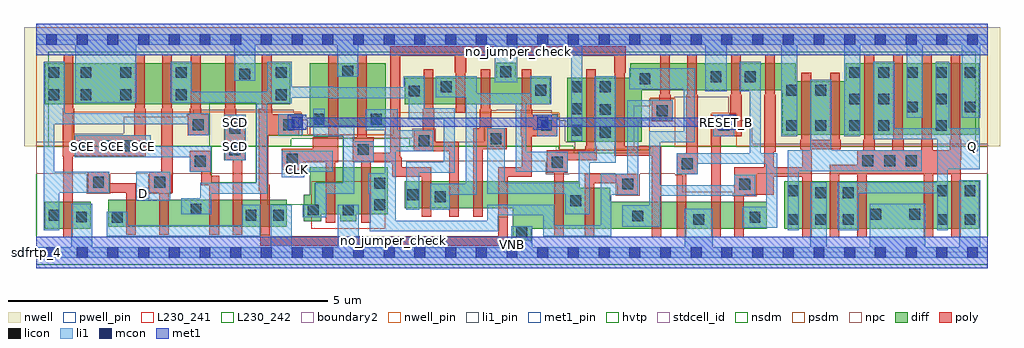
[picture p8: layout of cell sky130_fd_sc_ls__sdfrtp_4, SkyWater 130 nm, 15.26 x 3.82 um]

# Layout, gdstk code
import gdstk
lib = gdstk.Library(unit=1e-6, precision=1e-09)
def R(c, l, rs):  # rectangles x0, y0, x1, y1
    for r in rs: c.add(gdstk.rectangle(r[:2], r[2:], *l))
def A(c, l, x, y, w, h, nx, ny, dx, dy):  # array of equal rectangles
    R(c, l, [(x+i*dx, y+j*dy, x+i*dx+w, y+j*dy+h) for i in range(nx) for j in range(ny)])
def P(c, l, *ps):  # polygons
    for p in ps: c.add(gdstk.Polygon(p, *l))
nwell_pin = (64, 16)
nwell = (64, 20)
diff = (65, 20)
poly = (66, 20)
licon = (66, 44)
li1_pin = (67, 16)
li1 = (67, 20)
mcon = (67, 44)
met1_pin = (68, 16)
met1 = (68, 20)
hvtp = (78, 44)
stdcell_id = (81, 4)
nsdm = (93, 44)
psdm = (94, 20)
npc = (95, 20)
pwell_pin = (122, 16)
L230_241 = (230, 241)
L230_242 = (230, 242)
boundary2 = (236, 0)

sky130_fd_sc_ls__sdfrtp_ = lib.new_cell('sky130_fd_sc_ls__sdfrtp_4')
R(sky130_fd_sc_ls__sdfrtp_, nwell_pin, [(0,3.085,14.88,3.33)])
P(sky130_fd_sc_ls__sdfrtp_, nwell, [(15.07,3.52),(-0.19,3.52),(-0.19,1.66),(3.985,1.66),(3.985,1.78),(5.835,1.78),(5.835,1.66),(8.125,1.66),(8.125,1.555),(9.645,1.555),(9.645,1.66),(15.07,1.66)])
R(sky130_fd_sc_ls__sdfrtp_, diff, [(0.135,0.37,0.855,0.79), (11.695,0.37,14.745,1.11), (1.125,0.405,3.915,0.825), (4.275,1.96,5.465,2.96), (0.135,2.32,3.975,2.96)])
P(sky130_fd_sc_ls__sdfrtp_, diff, [(8.035,2.735),(7.5,2.735),(7.5,2.97),(7.19,2.97),(7.19,2.735),(5.765,2.735),(5.765,2.315),(8.035,2.315)],
  [(5.495,1.335),(4.28,1.335),(4.28,0.9),(4.185,0.9),(4.185,0.49),(4.455,0.49),(4.455,0.595),(4.755,0.595),(4.755,0.49),(5.005,0.49),(5.005,0.595),(5.495,0.595)],
  [(14.745,2.96),(12.655,2.96),(12.655,2.68),(11.875,2.68),(11.875,2.96),(9.29,2.96),(9.29,2.735),(8.305,2.735),(8.305,1.735),(9.465,1.735),(9.465,2.54),(11.665,2.54),(11.665,1.84),(14.745,1.84)],
  [(11.425,0.79),(8.975,0.79),(8.975,1.01),(8.5,1.01),(8.5,1.11),(5.765,1.11),(5.765,0.69),(7.45,0.69),(7.45,0.18),(7.74,0.18),(7.74,0.37),(11.425,0.37)])
P(sky130_fd_sc_ls__sdfrtp_, poly, [(2.86,1.2),(2.73,1.2),(2.73,1.59),(2.4,1.59),(2.4,1.26),(2.58,1.26),(2.58,1.05),(2.71,1.05),(2.71,0.275),(2.86,0.275)],
  [(1.56,1.085),(1.14,1.085),(1.14,1.265),(0.81,1.265),(0.81,0.935),(1.41,0.935),(1.41,0.275),(1.56,0.275)],
  [(1.715,2.245),(1.7,2.245),(1.7,3.09),(1.55,3.09),(1.55,2.245),(1.535,2.245),(1.535,1.835),(0.595,1.835),(0.595,2.245),(0.58,2.245),(0.58,3.09),(0.43,3.09),(0.43,2.245),(0.415,2.245),(0.415,1.505),(0.42,1.505),(0.42,0.24),(0.57,0.24),(0.57,1.505),(1.715,1.505)],
  [(2.135,2.245),(2.12,2.245),(2.12,3.09),(1.97,3.09),(1.97,2.245),(1.955,2.245),(1.955,1.265),(1.77,1.265),(1.77,0.935),(1.925,0.935),(1.925,0.275),(2.075,0.275),(2.075,0.935),(2.135,0.935)],
  [(9.955,2.38),(9.925,2.38),(9.925,2.465),(9.91,2.465),(9.91,3.09),(9.76,3.09),(9.76,2.465),(9.745,2.465),(9.745,2.38),(9.625,2.38),(9.625,2.05),(9.955,2.05)],
  [(14.465,1.765),(14.45,1.765),(14.45,3.09),(14.3,3.09),(14.3,1.765),(14.285,1.765),(14.285,1.6),(14.015,1.6),(14.015,1.765),(14,1.765),(14,3.09),(13.85,3.09),(13.85,1.765),(13.835,1.765),(13.835,1.6),(13.565,1.6),(13.565,1.765),(13.55,1.765),(13.55,3.09),(13.4,3.09),(13.4,1.765),(13.385,1.765),(13.385,1.6),(13.115,1.6),(13.115,1.765),(13.1,1.765),(13.1,3.09),(12.95,3.09),(12.95,1.765),(12.935,1.765),(12.935,1.6),(12.84,1.6),(12.84,1.375),(12.41,1.375),(12.41,0.24),(12.56,0.24),(12.56,1.225),(12.84,1.225),(12.84,0.24),(12.99,0.24),(12.99,1.225),(13.88,1.225),(13.88,0.24),(14.03,0.24),(14.03,1.225),(14.31,1.225),(14.31,0.24),(14.46,0.24),(14.46,1.45),(14.465,1.45)],
  [(4.72,3.09),(4.57,3.09),(4.57,1.8),(4.325,1.8),(4.325,1.62),(3.84,1.62),(3.84,1.29),(4.17,1.29),(4.17,1.41),(4.53,1.41),(4.53,0.465),(4.68,0.465),(4.68,1.41),(4.72,1.41)],
  [(2.7,2.16),(2.585,2.16),(2.585,2.245),(2.57,2.245),(2.57,3.09),(2.42,3.09),(2.42,2.245),(2.405,2.245),(2.405,2.16),(2.37,2.16),(2.37,1.83),(2.7,1.83)],
  [(8.145,2.15),(7.755,2.15),(7.755,2.24),(7.74,2.24),(7.74,2.865),(7.59,2.865),(7.59,2.24),(7.575,2.24),(7.575,1.82),(7.595,1.82),(7.595,1.335),(7.225,1.335),(7.225,0.56),(7.375,0.56),(7.375,1.185),(7.745,1.185),(7.745,1.82),(8.145,1.82)],
  [(7.375,0.56),(7.225,0.56),(7.225,0.255),(3.65,0.255),(3.65,0.275),(3.5,0.275),(3.5,0.105),(7.375,0.105)],
  [(6.61,1.735),(6.23,1.735),(6.23,1.915),(6.225,1.915),(6.225,2.24),(6.21,2.24),(6.21,2.865),(6.06,2.865),(6.06,2.24),(6.045,2.24),(6.045,1.915),(5.9,1.915),(5.9,1.585),(6.46,1.585),(6.46,0.56),(6.61,0.56)],
  [(4.115,2.16),(3.695,2.16),(3.695,2.245),(3.68,2.245),(3.68,3.09),(3.53,3.09),(3.53,2.245),(3.48,2.245),(3.48,0.965),(3.5,0.965),(3.5,0.275),(3.65,0.275),(3.65,1.06),(3.63,1.06),(3.63,1.83),(4.115,1.83)],
  [(3.27,2.11),(3.125,2.11),(3.125,2.245),(3.11,2.245),(3.11,3.09),(2.96,3.09),(2.96,2.245),(2.94,2.245),(2.94,1.44),(3.07,1.44),(3.07,0.275),(3.22,0.275),(3.22,1.44),(3.27,1.44)],
  [(7.355,1.945),(7.115,1.945),(7.115,2.24),(7.1,2.24),(7.1,2.865),(6.95,2.865),(6.95,2.24),(6.935,2.24),(6.935,1.945),(6.835,1.945),(6.835,0.56),(6.985,0.56),(6.985,1.615),(7.355,1.615)],
  [(12.58,1.765),(12.565,1.765),(12.565,2.81),(12.415,2.81),(12.415,1.765),(12.115,1.765),(12.115,2.81),(11.965,2.81),(11.965,1.765),(11.95,1.765),(11.95,1.615),(11.98,1.615),(11.98,1.335),(11.535,1.335),(11.535,1.575),(11.565,1.575),(11.565,2.465),(11.55,2.465),(11.55,3.09),(11.4,3.09),(11.4,2.465),(11.385,2.465),(11.385,1.335),(10.915,1.335),(10.915,0.24),(11.065,0.24),(11.065,0.9),(11.535,0.9),(11.535,1.185),(11.98,1.185),(11.98,0.24),(12.13,0.24),(12.13,1.615),(12.58,1.615)],
  [(10.345,2.465),(10.33,2.465),(10.33,3.09),(10.18,3.09),(10.18,2.465),(10.165,2.465),(10.165,1.555),(10.015,1.555),(10.015,0.24),(10.165,0.24),(10.165,1.225),(10.345,1.225)],
  [(9.775,1.66),(9.2,1.66),(9.2,2.81),(9.215,2.81),(9.215,3.225),(5.54,3.225),(5.54,1.56),(5.28,1.56),(5.28,1.8),(5.17,1.8),(5.17,3.09),(5.02,3.09),(5.02,1.8),(4.95,1.8),(4.95,1.41),(5.08,1.41),(5.08,0.465),(5.23,0.465),(5.23,1.41),(5.55,1.41),(5.55,1.39),(5.57,1.39),(5.57,1.185),(6.03,1.185),(6.03,0.56),(6.18,0.56),(6.18,1.335),(5.72,1.335),(5.72,1.475),(5.705,1.475),(5.705,1.5),(5.69,1.5),(5.69,3.075),(6.545,3.075),(6.545,2.81),(6.56,2.81),(6.56,2.185),(6.71,2.185),(6.71,2.81),(6.725,2.81),(6.725,3.075),(9.035,3.075),(9.035,2.81),(9.05,2.81),(9.05,1.66),(9.035,1.66),(9.035,1.51),(9.625,1.51),(9.625,0.24),(9.775,0.24)],
  [(9.415,1.235),(8.575,1.235),(8.575,0.24),(8.725,0.24),(8.725,1.085),(9.085,1.085),(9.085,0.905),(9.415,0.905)],
  [(8.765,1.66),(8.75,1.66),(8.75,2.865),(8.6,2.865),(8.6,1.66),(8.585,1.66),(8.585,1.595),(7.985,1.595),(7.985,1.245),(8.1,1.245),(8.1,0.24),(8.25,0.24),(8.25,1.245),(8.315,1.245),(8.315,1.445),(8.765,1.445)],
  [(11.03,2.465),(11.015,2.465),(11.015,3.09),(10.865,3.09),(10.865,2.465),(10.85,2.465),(10.85,2.15),(10.555,2.15),(10.555,0.24),(10.705,0.24),(10.705,1.82),(11.03,1.82)])
A(sky130_fd_sc_ls__sdfrtp_, licon, 11.755, 0.43, 0.17, 0.17, 3, 1, 0.43, 0)
A(sky130_fd_sc_ls__sdfrtp_, licon, 12.92, 1.35, 0.17, 0.17, 3, 1, 0.34, 0)
A(sky130_fd_sc_ls__sdfrtp_, licon, 0.685, 1.585, 0.17, 0.17, 3, 1, 0.34, 0)
A(sky130_fd_sc_ls__sdfrtp_, licon, 8.815, 1.795, 0.17, 0.17, 1, 3, 0, 0.355)
A(sky130_fd_sc_ls__sdfrtp_, licon, 8.365, 1.825, 0.17, 0.17, 1, 3, 0, 0.34)
A(sky130_fd_sc_ls__sdfrtp_, licon, 12.715, 2.73, 0.17, 0.17, 5, 1, 0.45, 0)
R(sky130_fd_sc_ls__sdfrtp_, licon, [(7.51,0.24,7.68,0.41), (10.275,0.43,10.445,0.6), (14.085,0.43,14.255,0.6), (14.515,0.43,14.685,0.6), (1.185,0.465,1.355,0.635), (11.155,0.465,11.325,0.635), (0.625,0.47,0.795,0.64), (9.32,0.485,9.49,0.655), (0.195,0.495,0.365,0.665), (3.275,0.5,3.445,0.67), (3.705,0.5,3.875,0.67), (13.045,0.51,13.215,0.68), (13.655,0.51,13.825,0.68), (4.245,0.58,4.415,0.75), (4.795,0.58,4.965,0.75), (2.415,0.595,2.585,0.765), (5.285,0.66,5.455,0.83), (8.35,0.725,8.52,0.895), (6.235,0.785,6.405,0.955), (5.805,0.815,5.975,0.985), (12.185,0.85,12.355,1.02), (12.615,0.85,12.785,1.02), (11.755,0.88,11.925,1.05), (14.085,0.88,14.255,1.05), (14.515,0.88,14.685,1.05), (10.995,0.98,11.165,1.15), (9.165,0.985,9.335,1.155), (5.285,1,5.455,1.17), (0.89,1.015,1.06,1.185), (1.85,1.015,2.02,1.185), (10.095,1.305,10.265,1.475), (8.065,1.325,8.235,1.495), (2.48,1.34,2.65,1.51), (3.92,1.37,4.09,1.54), (3.02,1.52,3.19,1.69), (5.03,1.525,5.2,1.695), (5.98,1.665,6.15,1.835), (7.105,1.695,7.275,1.865), (3.02,1.86,3.19,2.03), (7.895,1.9,8.065,2.07), (10.665,1.9,10.835,2.07), (11.73,1.9,11.9,2.07), (12.18,1.9,12.35,2.07), (12.715,1.9,12.885,2.07), (13.165,1.9,13.335,2.07), (14.065,1.9,14.235,2.07), (2.45,1.91,2.62,2.08), (3.865,1.91,4.035,2.08), (4.335,2,4.505,2.17), (5.235,2,5.405,2.17), (9.705,2.13,9.875,2.3), (13.615,2.19,13.785,2.36), (14.515,2.19,14.685,2.36), (12.715,2.315,12.885,2.485), (13.165,2.315,13.335,2.485), (14.065,2.315,14.235,2.485), (0.195,2.38,0.365,2.55), (0.695,2.38,0.865,2.55), (1.315,2.38,1.485,2.55), (2.185,2.38,2.355,2.55), (3.745,2.38,3.915,2.55), (5.825,2.44,5.995,2.61), (7.805,2.45,7.975,2.62), (11.73,2.45,11.9,2.62), (12.18,2.45,12.35,2.62), (6.325,2.505,6.495,2.675), (9.435,2.63,9.605,2.8), (10.545,2.665,10.715,2.835), (11.08,2.665,11.25,2.835), (3.175,2.705,3.345,2.875), (0.195,2.73,0.365,2.9), (0.695,2.73,0.865,2.9), (1.315,2.73,1.485,2.9), (2.185,2.73,2.355,2.9), (3.745,2.73,3.915,2.9), (7.26,2.74,7.43,2.91), (4.785,2.75,4.955,2.92)])
A(sky130_fd_sc_ls__sdfrtp_, li1_pin, 0.635, 1.58, 0.17, 0.17, 3, 1, 0.48, 0)
R(sky130_fd_sc_ls__sdfrtp_, li1_pin, [(1.595,0.84,1.765,1.01), (3.995,1.21,4.165,1.38), (3.035,1.58,3.205,1.75), (14.555,1.58,14.725,1.75), (3.035,1.95,3.205,2.12)])
R(sky130_fd_sc_ls__sdfrtp_, li1, [(1.565,0.81,2.1,1.265), (2.945,1.44,3.275,2.15), (7.835,1.82,8.145,2.15), (10.585,1.82,10.915,2.15), (3.785,1.83,4.165,2.16)])
P(sky130_fd_sc_ls__sdfrtp_, li1, [(5.28,1.74),(4.975,1.74),(4.975,1.99),(4.515,1.99),(4.515,2.25),(4.335,2.25),(4.335,1.82),(4.805,1.82),(4.805,1.09),(4.365,1.09),(4.365,0.75),(4.165,0.75),(4.165,0.55),(4.535,0.55),(4.535,0.92),(4.975,0.92),(4.975,1.41),(5.28,1.41)],
  [(11.585,1.555),(11.33,1.555),(11.33,2.98),(11,2.98),(11,2.52),(11.16,2.52),(11.16,1.555),(10.015,1.555),(10.015,1.225),(10.345,1.225),(10.345,1.385),(11.415,1.385),(11.415,0.715),(11.04,0.715),(11.04,0.385),(11.585,0.385)],
  [(2.705,2.175),(0.445,2.175),(0.445,2.98),(0.115,2.98),(0.115,0.35),(0.365,0.35),(0.365,0.935),(1.14,0.935),(1.14,1.265),(0.285,1.265),(0.285,2.005),(2.375,2.005),(2.375,1.83),(2.705,1.83)],
  [(2.735,1.66),(1.795,1.66),(1.795,1.835),(0.605,1.835),(0.605,1.49),(2.405,1.49),(2.405,1.26),(2.735,1.26)],
  [(11.245,1.215),(10.915,1.215),(10.915,1.055),(9.755,1.055),(9.755,1.725),(10.295,1.725),(10.295,2.88),(9.27,2.88),(9.27,2.55),(10.125,2.55),(10.125,1.895),(9.585,1.895),(9.585,0.735),(9.165,0.735),(9.165,0.405),(9.755,0.405),(9.755,0.885),(11.245,0.885)],
  [(3.5,0.75),(3.225,0.75),(3.225,0.425),(1.435,0.425),(1.435,0.64),(1.105,0.64),(1.105,0.255),(3.5,0.255)],
  [(9.065,2.755),(8.735,2.755),(8.735,1.575),(8.485,1.575),(8.485,1.09),(7.325,1.09),(7.325,1.945),(7.055,1.945),(7.055,0.92),(8.27,0.92),(8.27,0.595),(8.655,0.595),(8.655,1.405),(9.065,1.405)],
  [(8.315,1.575),(7.665,1.575),(7.665,2.32),(8.055,2.32),(8.055,2.755),(7.725,2.755),(7.725,2.49),(6.885,2.49),(6.885,2.755),(6.245,2.755),(6.245,2.425),(6.715,2.425),(6.715,1.075),(6.16,1.075),(6.16,0.67),(6.47,0.67),(6.47,0.905),(6.885,0.905),(6.885,2.32),(7.495,2.32),(7.495,1.26),(8.315,1.26)],
  [(4.635,1.59),(3.84,1.59),(3.84,1.18),(4.195,1.18),(4.195,1.26),(4.635,1.26)],
  [(6.545,2.255),(6.075,2.255),(6.075,2.755),(5.745,2.755),(5.745,2.58),(4.645,2.58),(4.645,2.59),(3.995,2.59),(3.995,2.98),(3.615,2.98),(3.615,2.515),(2.435,2.515),(2.435,2.98),(2.105,2.98),(2.105,2.345),(3.445,2.345),(3.445,1.09),(2.565,1.09),(2.565,0.845),(2.27,0.845),(2.27,0.595),(2.735,0.595),(2.735,0.92),(3.615,0.92),(3.615,2.33),(3.995,2.33),(3.995,2.42),(4.58,2.42),(4.58,2.41),(5.825,2.41),(5.825,2.085),(6.375,2.085),(6.375,1.415),(5.79,1.415),(5.79,0.67),(5.99,0.67),(5.99,1.245),(6.545,1.245)],
  [(13.85,1.6),(12.43,1.6),(12.43,2.7),(12.1,2.7),(12.1,1.6),(11.755,1.6),(11.755,0.35),(11.925,0.35),(11.925,1.27),(13.85,1.27)],
  [(14.88,0.085),(14.765,0.085),(14.765,1.13),(14.435,1.13),(14.435,0.085),(13.905,0.085),(13.905,0.76),(13.035,0.76),(13.035,0.085),(12.365,0.085),(12.365,1.1),(12.105,1.1),(12.105,0.085),(10.58,0.085),(10.58,0.68),(10.14,0.68),(10.14,0.085),(7.76,0.085),(7.76,0.41),(7.43,0.41),(7.43,0.085),(5.045,0.085),(5.045,0.75),(4.715,0.75),(4.715,0.085),(3.995,0.085),(3.995,0.75),(3.67,0.75),(3.67,0.085),(0.875,0.085),(0.875,0.765),(0.545,0.765),(0.545,0.085),(0,0.085),(0,-0.085),(14.88,-0.085)],
  [(9.955,2.38),(9.245,2.38),(9.245,1.235),(8.825,1.235),(8.825,0.425),(8.1,0.425),(8.1,0.75),(7.055,0.75),(7.055,0.5),(5.62,0.5),(5.62,1.585),(6.205,1.585),(6.205,1.915),(5.655,1.915),(5.655,2.24),(5.155,2.24),(5.155,1.91),(5.45,1.91),(5.45,1.24),(5.195,1.24),(5.195,0.92),(5.215,0.92),(5.215,0.33),(7.225,0.33),(7.225,0.58),(7.93,0.58),(7.93,0.255),(8.995,0.255),(8.995,0.905),(9.415,0.905),(9.415,2.065),(9.955,2.065)],
  [(14.755,1.94),(14.28,1.94),(14.28,2.98),(14.065,2.98),(14.065,1.94),(13.415,1.94),(13.415,2.98),(13.085,2.98),(13.085,1.77),(14.085,1.77),(14.085,1.1),(12.535,1.1),(12.535,0.35),(12.865,0.35),(12.865,0.93),(14.085,0.93),(14.085,0.35),(14.255,0.35),(14.255,1.3),(14.755,1.3)],
  [(14.88,3.415),(0,3.415),(0,3.245),(0.615,3.245),(0.615,2.345),(1.565,2.345),(1.565,3.245),(3.095,3.245),(3.095,2.685),(3.425,2.685),(3.425,3.245),(4.705,3.245),(4.705,2.75),(5.035,2.75),(5.035,3.245),(7.17,3.245),(7.17,2.66),(7.52,2.66),(7.52,3.245),(8.365,3.245),(8.365,1.745),(8.535,1.745),(8.535,3.245),(10.465,3.245),(10.465,2.52),(10.795,2.52),(10.795,3.245),(11.65,3.245),(11.65,1.82),(11.9,1.82),(11.9,3.245),(12.635,3.245),(12.635,1.82),(12.885,1.82),(12.885,3.245),(13.615,3.245),(13.615,2.11),(13.865,2.11),(13.865,3.245),(14.47,3.245),(14.47,2.11),(14.765,2.11),(14.765,3.245),(14.88,3.245)])
A(sky130_fd_sc_ls__sdfrtp_, mcon, 0.155, -0.085, 0.17, 0.17, 31, 2, 0.48, 3.33)
R(sky130_fd_sc_ls__sdfrtp_, mcon, [(3.995,1.95,4.165,2.12), (7.835,1.95,8.005,2.12), (10.715,1.95,10.885,2.12)])
R(sky130_fd_sc_ls__sdfrtp_, met1_pin, [(0,0,14.88,0.245), (10.715,1.95,10.885,2.12), (0,3.085,14.88,3.33)])
R(sky130_fd_sc_ls__sdfrtp_, met1, [(0,-0.245,14.88,0.245), (0,3.085,14.88,3.575)])
P(sky130_fd_sc_ls__sdfrtp_, met1, [(10.945,2.15),(10.655,2.15),(10.655,2.105),(8.065,2.105),(8.065,2.15),(7.775,2.15),(7.775,2.105),(4.225,2.105),(4.225,2.15),(3.935,2.15),(3.935,1.92),(4.225,1.92),(4.225,1.965),(7.775,1.965),(7.775,1.92),(8.065,1.92),(8.065,1.965),(10.655,1.965),(10.655,1.92),(10.945,1.92)])
P(sky130_fd_sc_ls__sdfrtp_, hvtp, [(14.69,3.14),(0.19,3.14),(0.19,1.66),(3.985,1.66),(3.985,1.78),(5.835,1.78),(5.835,1.66),(8.405,1.66),(8.405,1.555),(9.395,1.555),(9.395,1.66),(14.69,1.66)])
R(sky130_fd_sc_ls__sdfrtp_, stdcell_id, [(0,0,14.88,3.33)])
P(sky130_fd_sc_ls__sdfrtp_, nsdm, [(14.88,1.66),(9.595,1.66),(9.595,1.605),(8.175,1.605),(8.175,1.66),(0,1.66),(0,-0.19),(14.88,-0.19)])
P(sky130_fd_sc_ls__sdfrtp_, psdm, [(14.88,3.52),(0,3.52),(0,1.66),(0.575,1.66),(0.575,2.19),(4.145,2.19),(4.145,1.83),(5.595,1.83),(5.595,2.185),(8.175,2.185),(8.175,1.605),(9.595,1.605),(9.595,2.41),(9.985,2.41),(9.985,1.66),(10.555,1.66),(10.555,2.18),(10.945,2.18),(10.945,1.66),(14.88,1.66)])
P(sky130_fd_sc_ls__sdfrtp_, npc, [(14.88,1.7),(11.2,1.7),(11.2,2.065),(10.935,2.065),(10.935,2.17),(10.83,2.17),(10.83,2.435),(9.975,2.435),(9.975,2.4),(9.605,2.4),(9.605,2.295),(9.34,2.295),(9.34,1.595),(8.43,1.595),(8.43,1.735),(8.275,1.735),(8.275,2.065),(8.165,2.065),(8.165,2.17),(8.06,2.17),(8.06,2.225),(7.485,2.225),(7.485,2.23),(7.205,2.23),(7.205,2.225),(7.11,2.225),(7.11,1.965),(7.005,1.965),(7.005,1.73),(6.25,1.73),(6.25,1.935),(5.88,1.935),(5.88,1.795),(4.4,1.795),(4.4,1.845),(4.245,1.845),(4.245,2.075),(4.135,2.075),(4.135,2.18),(4.03,2.18),(4.03,2.23),(2.46,2.23),(2.46,2.18),(2.355,2.18),(2.355,2.12),(1.37,2.12),(1.37,1.855),(0.585,1.855),(0.585,1.73),(0,1.73),(0,1.23),(0.79,1.23),(0.79,0.915),(1.16,0.915),(1.16,1.23),(1.75,1.23),(1.75,0.915),(2.12,0.915),(2.12,1.23),(4.215,1.23),(4.215,1.425),(7.965,1.425),(7.965,1.225),(8.335,1.225),(8.335,1.23),(9.065,1.23),(9.065,0.885),(9.435,0.885),(9.435,1.23),(9.995,1.23),(9.995,1.205),(10.1,1.205),(10.1,0.94),(10.895,0.94),(10.895,0.88),(11.265,0.88),(11.265,1.23),(14.88,1.23)])
R(sky130_fd_sc_ls__sdfrtp_, pwell_pin, [(0,0,14.88,0.245)])
R(sky130_fd_sc_ls__sdfrtp_, L230_241, [(4.305,0.37,5.455,1.11), (2.945,1.44,3.275,2.15), (3.785,1.83,4.165,2.16), (4.275,1.84,5.465,2.96)])
P(sky130_fd_sc_ls__sdfrtp_, L230_241, [(4.635,1.59),(3.965,1.59),(3.965,1.18),(4.195,1.18),(4.195,1.26),(4.635,1.26)])
P(sky130_fd_sc_ls__sdfrtp_, L230_242, [(7.375,0.56),(7.225,0.56),(7.225,0.255),(3.65,0.255),(3.65,0.275),(3.5,0.275),(3.5,0.105),(7.375,0.105)],
  [(4.805,1.82),(4.335,1.82),(4.335,1.83),(3.615,1.83),(3.615,0.75),(4.365,0.75),(4.365,1.09),(4.805,1.09)],
  [(3.445,2.345),(2.705,2.345),(2.705,1.66),(2.735,1.66),(2.735,1.09),(3.445,1.09)])
R(sky130_fd_sc_ls__sdfrtp_, boundary2, [(0,0,14.88,3.33)])
sky130_fd_sc_ls__sdfrtp_.add(gdstk.Label('sdfrtp_4', (0,0), layer=83, texttype=44))
sky130_fd_sc_ls__sdfrtp_.add(gdstk.Label('no_jumper_check', (7.535,3.15), layer=83, texttype=44))
sky130_fd_sc_ls__sdfrtp_.add(gdstk.Label('no_jumper_check', (5.595,0.18), layer=83, texttype=44))
sky130_fd_sc_ls__sdfrtp_.add(gdstk.Label('VNB', (7.44,0.123), layer=64, texttype=59))
sky130_fd_sc_ls__sdfrtp_.add(gdstk.Label('VPB', (7.44,3.208), layer=64, texttype=5))
sky130_fd_sc_ls__sdfrtp_.add(gdstk.Label('RESET_B', (10.8,2.035), layer=68, texttype=5))
sky130_fd_sc_ls__sdfrtp_.add(gdstk.Label('VGND', (7.44,0.123), layer=68, texttype=5))
sky130_fd_sc_ls__sdfrtp_.add(gdstk.Label('VPWR', (7.44,3.208), layer=68, texttype=5))
sky130_fd_sc_ls__sdfrtp_.add(gdstk.Label('D', (1.68,0.925), layer=67, texttype=5))
sky130_fd_sc_ls__sdfrtp_.add(gdstk.Label('SCE', (0.72,1.665), layer=67, texttype=5))
sky130_fd_sc_ls__sdfrtp_.add(gdstk.Label('SCE', (1.2,1.665), layer=67, texttype=5))
sky130_fd_sc_ls__sdfrtp_.add(gdstk.Label('SCE', (1.68,1.665), layer=67, texttype=5))
sky130_fd_sc_ls__sdfrtp_.add(gdstk.Label('SCD', (3.12,1.665), layer=67, texttype=5))
sky130_fd_sc_ls__sdfrtp_.add(gdstk.Label('SCD', (3.12,2.035), layer=67, texttype=5))
sky130_fd_sc_ls__sdfrtp_.add(gdstk.Label('CLK', (4.08,1.295), layer=67, texttype=5))
sky130_fd_sc_ls__sdfrtp_.add(gdstk.Label('Q', (14.64,1.665), layer=67, texttype=5))

lib.write_gds('sky130_fd_sc_ls__sdfrtp_4.gds')
